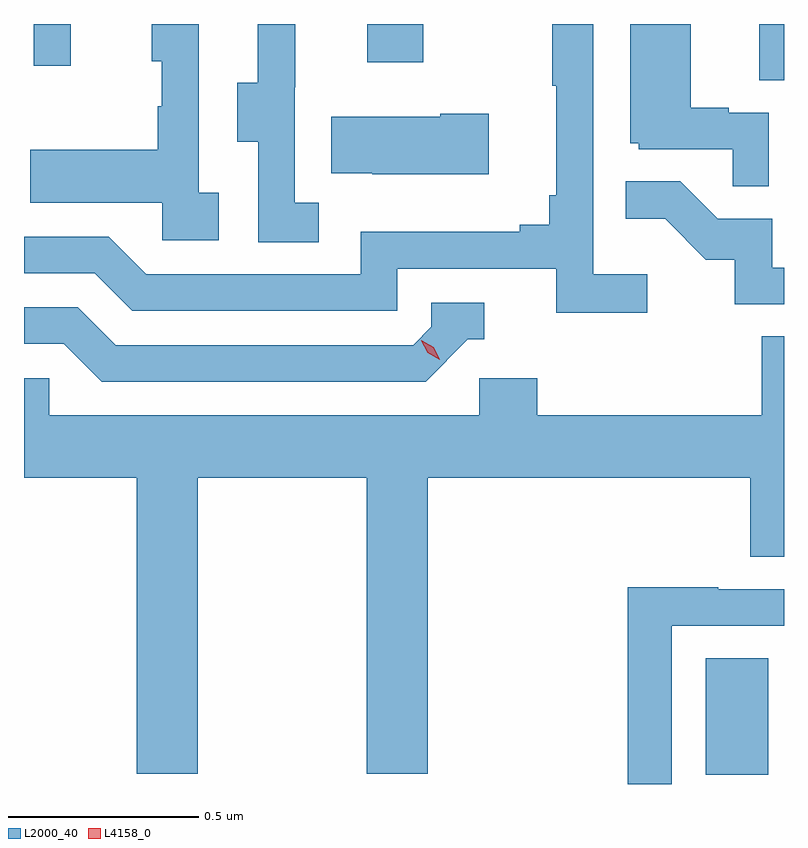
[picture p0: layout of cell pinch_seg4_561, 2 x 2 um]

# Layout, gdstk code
import gdstk
lib = gdstk.Library(unit=1e-6, precision=1e-09)
def R(c, l, rs):  # rectangles x0, y0, x1, y1
    for r in rs: c.add(gdstk.rectangle(r[:2], r[2:], *l))
def P(c, l, *ps):  # polygons
    for p in ps: c.add(gdstk.Polygon(p, *l))
L2000_40 = (2000, 40)
L4158_0 = (4158, 0)

pinch_seg4_561 = lib.new_cell('pinch_seg4_561')
R(pinch_seg4_561, L2000_40, [(1090.394,788.046,1090.558,788.353), (1090.535,789.874,1090.6,790.022), (1088.625,789.912,1088.723,790.022), (1089.503,789.921,1089.651,790.022)])
P(pinch_seg4_561, L2000_40, [(1089.112,789.578),(1089.06,789.578),(1089.06,790.022),(1088.936,790.022),(1088.936,789.924),(1088.962,789.924),(1088.962,789.806),(1088.952,789.806),(1088.952,789.691),(1088.617,789.691),(1088.617,789.551),(1088.964,789.551),(1088.964,789.453),(1089.112,789.453)],
  [(1089.376,789.551),(1089.312,789.551),(1089.312,789.855),(1089.314,789.855),(1089.314,790.022),(1089.215,790.022),(1089.215,789.867),(1089.161,789.867),(1089.161,789.712),(1089.216,789.712),(1089.216,789.448),(1089.376,789.448)],
  [(1090.24,789.364),(1090.098,789.364),(1090.098,790.022),(1089.99,790.022),(1089.99,789.859),(1090.001,789.859),(1090.001,789.571),(1089.982,789.571),(1089.982,789.494),(1089.905,789.494),(1089.905,789.475),(1089.486,789.475),(1089.486,789.363),(1088.922,789.363),(1088.823,789.462),(1088.6,789.462),(1088.6,789.366),(1088.786,789.366),(1088.885,789.267),(1089.582,789.267),(1089.582,789.378),(1090.001,789.378),(1090.001,789.262),(1090.24,789.262)],
  [(1090.56,789.789),(1090.454,789.789),(1090.454,789.802),(1090.354,789.802),(1090.354,790.022),(1090.196,790.022),(1090.196,789.708),(1090.218,789.708),(1090.218,789.693),(1090.465,789.693),(1090.465,789.595),(1090.56,789.595)],
  [(1089.823,789.786),(1089.695,789.786),(1089.695,789.778),(1089.409,789.778),(1089.409,789.629),(1089.517,789.629),(1089.517,789.626),(1089.823,789.626)],
  [(1090.6,789.381),(1090.569,789.381),(1090.569,789.51),(1090.425,789.51),(1090.327,789.608),(1090.183,789.608),(1090.183,789.509),(1090.287,789.509),(1090.394,789.402),(1090.471,789.402),(1090.471,789.285),(1090.6,789.285)],
  [(1089.768,789.192),(1089.811,789.192),(1089.811,789.288),(1089.672,789.288),(1089.672,789.225),(1089.624,789.177),(1088.841,789.177),(1088.742,789.276),(1088.6,789.276),(1088.6,789.18),(1088.705,789.18),(1088.804,789.081),(1089.657,789.081)],
  [(1089.057,788.828),(1089.502,788.828),(1089.502,788.049),(1089.662,788.049),(1089.662,788.828),(1090.511,788.828),(1090.511,788.62),(1090.6,788.62),(1090.6,789.2),(1090.541,789.2),(1090.541,788.992),(1089.95,788.992),(1089.95,789.09),(1089.798,789.09),(1089.798,788.992),(1088.667,788.992),(1088.667,789.09),(1088.6,789.09),(1088.6,788.828),(1088.897,788.828),(1088.897,788.049),(1089.057,788.049)],
  [(1090.305,788.439),(1090.6,788.439),(1090.6,788.535),(1090.427,788.535),(1090.427,788.54),(1090.189,788.54),(1090.189,788.022),(1090.305,788.022)])
P(pinch_seg4_561, L4158_0, [(1089.694,789.138),(1089.663,789.157),(1089.646,789.189),(1089.646,789.19),(1089.646,789.19),(1089.678,789.171),(1089.694,789.138),(1089.694,789.138)])

lib.write_gds('pinch_seg4_561.gds')
